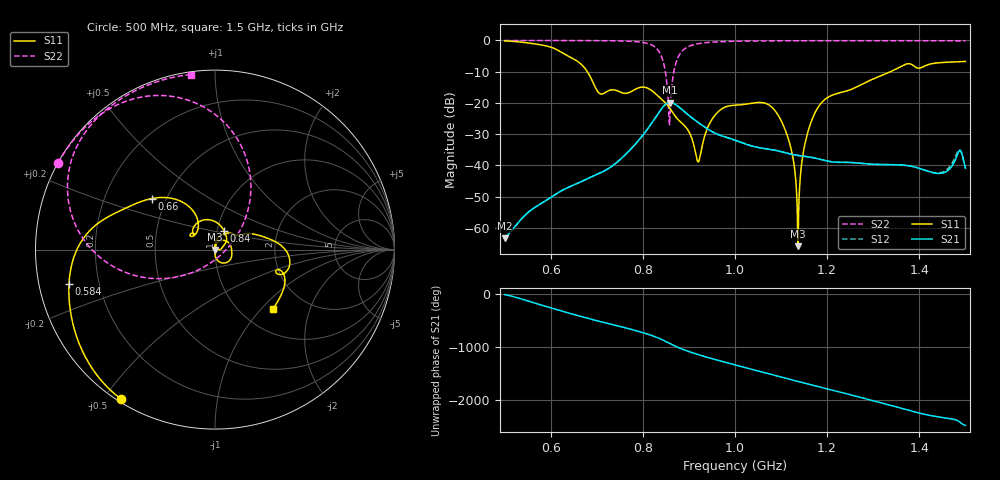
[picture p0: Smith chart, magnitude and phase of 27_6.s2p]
! TOUCHSTONE file generated by CST MICROWAVE STUDIO
! Date and time: Sat Oct 24 11:47:51 2020
! Project name: Scenario_1_Circular_Tissue_out_of_Line.cst
! Parameters = {dy1=104.866; L_HA=400; MT=2.54; Rad_Dielectric=30; Rad_Lower=7.3; Rad_Upper=30; a_HA=580; a_WG=246; b_HA=500; b_WG=121; c_HA=0; c_WG=187; d_feed=85; dx1=1039; h_feed=15; h_lower=18; h_upper=40}
! Header version: 2018
! Port assignment regex: !\s*Touchstone port\s*([0-9]+)\s*=\s*(CST MWS port|CST DS port)\s*([0-9]+|Zmin|Zmax)\s*\(\"(.*)\"\)(\s*mode\s*([0-9]+))?.*
! Touchstone port assignment:
! Touchstone port 1 = CST MWS port 1 ("")
! Touchstone port 2 = CST MWS port 2 ("")
# GHz S DB R 50
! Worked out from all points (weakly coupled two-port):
!   1001 points, 500 MHz to 1.5 GHz, reference 50 ohm
!   highest |S21| = -19.89 dB at 859 MHz (marker M1); lowest = -63.4 dB at 500 MHz (marker M2)
!   lowest |S11| = -65.9 dB at 1.137 GHz (marker M3), VSWR 1.00, Z = 50 + j0.0394 ohm
!   |S11| at or under -10 dB: 679.5 MHz to 1.338 GHz (658.3 MHz wide, 65.3 % of centre)
!   |S22| runs from -27.0 to 0.0 dB; largest |S21 - S12| = 0.0029
!   S11 on the Smith chart (normalised r, x): 500 MHz: 0.01, -0.55; 584 MHz: 0.09, -0.12; 660 MHz: 0.42, +0.30; 840 MHz: 1.08, +0.23; 1.5 GHz: 1.39, -1.16
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0.5  -0.15 -122.3  -63.44 -3.6  -63.44 -3.6  -0.01 151.1
0.584  -1.56 -166.8  -51.82 144.5  -51.83 144.5  -0.02 145.3
0.66  -6.89 141.0  -45.69 -46.4  -45.69 -46.4  -0.04 139.0
0.667  -7.74 134.9  -45.20 -62.9  -45.20 -62.9  -0.04 138.4
0.708  -17.15 138.2  -42.43 -158.2  -42.43 -158.2  -0.07 133.9
0.788  -15.33 134.6  -32.52 23.1  -32.52 23.1  -0.43 117.7
0.834  -17.93 70.8  -23.22 -110.6  -23.22 -110.6  -3.33 83.2
0.84  -18.74 63.5  -21.98 -133.5  -21.98 -133.5  -4.98 73.2
0.859  -21.80 38.4  -19.89 143.9  -19.89 143.9  -24.08 -96.8
0.877  -25.44 25.1  -21.18 69.4  -21.18 69.4  -5.23 -168.4
0.92  -38.93 36.9  -26.28 -64.4  -26.28 -64.4  -1.04 157.9
0.952  -24.86 59.8  -29.36 -146.0  -29.36 -146.0  -0.53 148.5
1  -20.76 5.5  -31.94 99.7  -31.94 99.7  -0.27 140.2
1.091  -23.34 -73.4  -35.31 -110.0  -35.31 -110.0  -0.13 130.5
1.121  -34.33 -90.5  -36.42 -178.7  -36.42 -178.7  -0.11 127.9
1.137  -65.91 128.8  -36.86 145.8  -36.86 145.7  -0.11 126.6
1.149  -35.25 93.3  -37.10 118.8  -37.10 118.8  -0.10 125.6
1.167  -25.40 82.4  -37.49 77.4  -37.49 77.4  -0.10 124.2
1.334  -10.25 11.3  -39.78 61.2  -39.77 61.2  -0.09 111.5
1.446  -7.11 -30.2  -42.60 -173.8  -42.35 -173.0  -0.11 102.6
1.486  -6.82 -41.9  -35.55 105.9  -35.04 96.8  -0.13 99.1
1.5  -6.73 -45.5  -40.95 29.3  -40.96 29.3  -0.13 97.9
